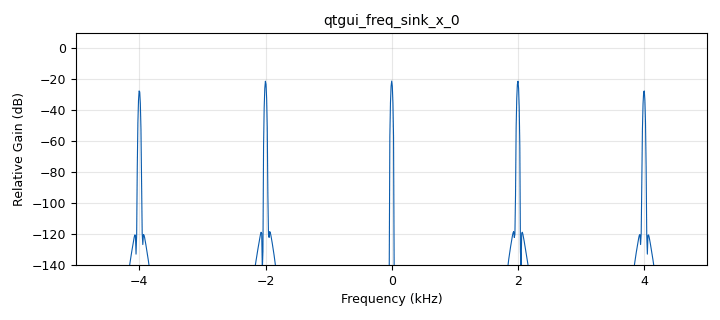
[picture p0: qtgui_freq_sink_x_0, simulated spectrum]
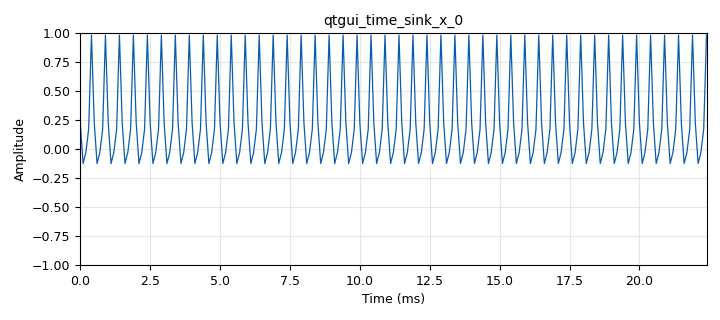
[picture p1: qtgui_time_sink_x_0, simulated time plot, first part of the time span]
options:
  parameters:
    author: Jorge y Valeria
    copyright: UIS
    generate_options: qt_gui
    id: multiplicador
    output_language: python
    title: multiplicador de señales
  states: {}

blocks:
- name: freq_a
  id: variable_qtgui_range
  parameters:
    label: frecuencia
    start: 1e3
    step: 1e3
    stop: 40e3
    value: 12e3
  states: {}
- name: freq_b
  id: variable_qtgui_range
  parameters:
    label: frecuencia
    start: 1e3
    step: 1e3
    stop: 40e3
    value: 36e3
  states: {}
- name: freq_c
  id: variable_qtgui_range
  parameters:
    label: frecuencia
    start: 1e3
    step: 1e3
    stop: 40e3
    value: 24e3
  states: {}
- name: samp_rate
  id: variable_qtgui_range
  parameters:
    label: frecuencia de muestreo
    start: 1e3
    step: 1e3
    stop: 1e6
    value: 10e3
  states: {}
- name: analog_sig_source_x_0
  id: analog_sig_source_x
  parameters:
    amp: '1'
    freq: freq_c
    offset: '0'
    phase: '0'
    samp_rate: samp_rate
    type: float
    waveform: analog.GR_COS_WAVE
  states: {}
- name: analog_sig_source_x_1
  id: analog_sig_source_x
  parameters:
    amp: '1'
    freq: freq_b
    offset: '0'
    phase: '0'
    samp_rate: samp_rate
    type: float
    waveform: analog.GR_COS_WAVE
  states: {}
- name: analog_sig_source_x_2
  id: analog_sig_source_x
  parameters:
    amp: '1'
    freq: freq_a
    offset: '0'
    phase: '0'
    samp_rate: samp_rate
    type: float
    waveform: analog.GR_COS_WAVE
  states: {}
- name: blocks_multiply_xx_0
  id: blocks_multiply_xx
  parameters:
    num_inputs: '3'
    type: float
  states: {}
- name: blocks_throttle_0
  id: blocks_throttle
  parameters:
    samples_per_second: samp_rate
    type: float
  states: {}
- name: qtgui_freq_sink_x_0
  id: qtgui_freq_sink_x
  parameters:
    bw: samp_rate
    fc: '0'
    fftsize: '1024'
    type: float
  states: {}
- name: qtgui_time_sink_x_0
  id: qtgui_time_sink_x
  parameters:
    size: '1024'
    srate: samp_rate
    type: float
  states: {}

connections:
- [analog_sig_source_x_0, '0', blocks_multiply_xx_0, '2']
- [analog_sig_source_x_1, '0', blocks_multiply_xx_0, '1']
- [analog_sig_source_x_2, '0', blocks_multiply_xx_0, '0']
- [blocks_multiply_xx_0, '0', blocks_throttle_0, '0']
- [blocks_throttle_0, '0', qtgui_freq_sink_x_0, '0']
- [blocks_throttle_0, '0', qtgui_time_sink_x_0, '0']

metadata:
  file_format: 1
